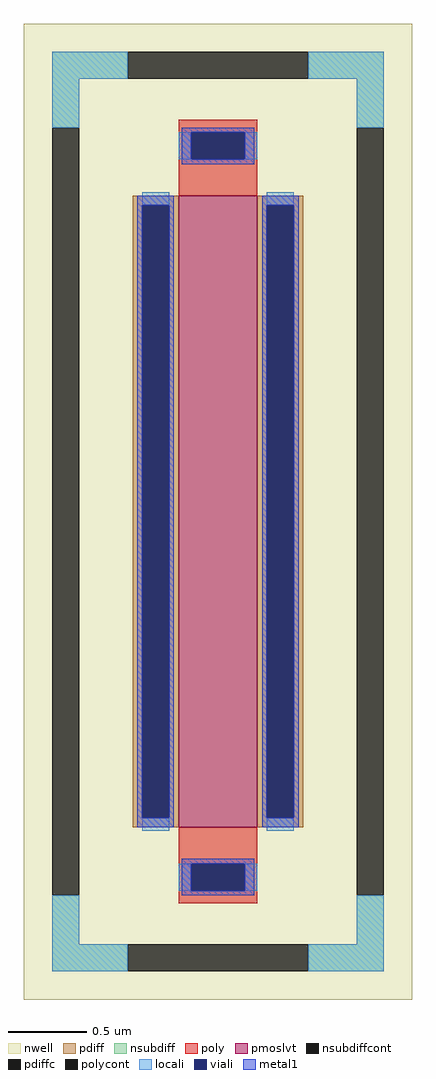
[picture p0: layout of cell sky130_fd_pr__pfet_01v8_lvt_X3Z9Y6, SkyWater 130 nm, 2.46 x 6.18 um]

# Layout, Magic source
magic
tech sky130A
magscale 1 2
<< nwell >>
rect -246 -618 246 618
<< pmoslvt >>
rect -50 -400 50 400
<< pdiff >>
rect -108 388 -50 400
rect -108 -388 -96 388
rect -62 -388 -50 388
rect -108 -400 -50 -388
rect 50 388 108 400
rect 50 -388 62 388
rect 96 -388 108 388
rect 50 -400 108 -388
<< pdiffc >>
rect -96 -388 -62 388
rect 62 -388 96 388
<< nsubdiff >>
rect -210 548 -114 582
rect 114 548 210 582
rect -210 486 -176 548
rect 176 486 210 548
rect -210 -548 -176 -486
rect 176 -548 210 -486
rect -210 -582 -114 -548
rect 114 -582 210 -548
<< nsubdiffcont >>
rect -114 548 114 582
rect -210 -486 -176 486
rect 176 -486 210 486
rect -114 -582 114 -548
<< poly >>
rect -50 480 50 496
rect -50 446 -34 480
rect 34 446 50 480
rect -50 400 50 446
rect -50 -446 50 -400
rect -50 -480 -34 -446
rect 34 -480 50 -446
rect -50 -496 50 -480
<< polycont >>
rect -34 446 34 480
rect -34 -480 34 -446
<< locali >>
rect -210 548 -114 582
rect 114 548 210 582
rect -210 486 -176 548
rect 176 486 210 548
rect -50 446 -34 480
rect 34 446 50 480
rect -96 388 -62 404
rect -96 -404 -62 -388
rect 62 388 96 404
rect 62 -404 96 -388
rect -50 -480 -34 -446
rect 34 -480 50 -446
rect -210 -548 -176 -486
rect 176 -548 210 -486
rect -210 -582 -114 -548
rect 114 -582 210 -548
<< viali >>
rect -34 446 34 480
rect -96 -388 -62 388
rect 62 -388 96 388
rect -34 -480 34 -446
<< metal1 >>
rect -46 480 46 486
rect -46 446 -34 480
rect 34 446 46 480
rect -46 440 46 446
rect -102 388 -56 400
rect -102 -388 -96 388
rect -62 -388 -56 388
rect -102 -400 -56 -388
rect 56 388 102 400
rect 56 -388 62 388
rect 96 -388 102 388
rect 56 -400 102 -388
rect -46 -446 46 -440
rect -46 -480 -34 -446
rect 34 -480 46 -446
rect -46 -486 46 -480
<< properties >>
string FIXED_BBOX -192 -566 192 566
string gencell sky130_fd_pr__pfet_01v8_lvt
string library sky130
string parameters w 4.0 l 0.5 m 1 nf 1 diffcov 100 polycov 100 guard 1 glc 1 grc 1 gtc 1 gbc 1 tbcov 100 rlcov 100 topc 1 botc 1 poverlap 0 doverlap 1 lmin 0.35 wmin 0.42 compatible {sky130_fd_pr__pfet_01v8  sky130_fd_pr__pfet_01v8_lvt sky130_fd_pr__pfet_01v8_hvt  sky130_fd_pr__pfet_g5v0d10v5} full_metal 1 viasrc 100 viadrn 100 viagate 100 viagb 0 viagr 0 viagl 0 viagt 0
<< end >>
